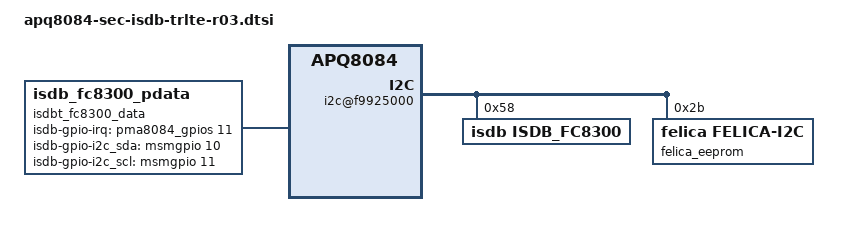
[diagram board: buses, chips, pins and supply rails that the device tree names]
/* Copyright (c) 2012-2014, The Linux Foundation. All rights reserved.
 *
 * This program is free software; you can redistribute it and/or modify
 * it under the terms of the GNU General Public License version 2 and
 * only version 2 as published by the Free Software Foundation.
 *
 * This program is distributed in the hope that it will be useful,
 * but WITHOUT ANY WARRANTY; without even the implied warranty of
 * MERCHANTABILITY or FITNESS FOR A PARTICULAR PURPOSE.  See the
 * GNU General Public License for more details.
 */

&soc {
	tspp: msm_tspp@f99d8000 {
		status = "okay";
	};

	i2c@f9925000 {
		status = "okay";

		isdb_fc8300@58 {
			compatible = "isdb,isdb_fc8300";
			reg = <0x58>;
		};

		/* CONFIG_FELICA changes START */
		felica_eeprom@2b {
			compatible = "felica,felica-i2c";
			reg = <0x2b>;
		};
		/* CONFIG_FELICA changes END */
	};

	isdbt_fc8300_data {
		compatible = "isdb_fc8300_pdata";
		qcom,isdb-gpio-pwr-en = <305>;
		qcom,isdb-gpio-rst = <306>;
		qcom,isdb-gpio-irq = <&pma8084_gpios 11 0>;
		qcom,isdb-gpio-i2c_sda = <&msmgpio 10 0>;
		qcom,isdb-gpio-i2c_scl = <&msmgpio 11 0>;
		qcom,isdb-bbm-xtal-freq = <19200>;
	};

};
